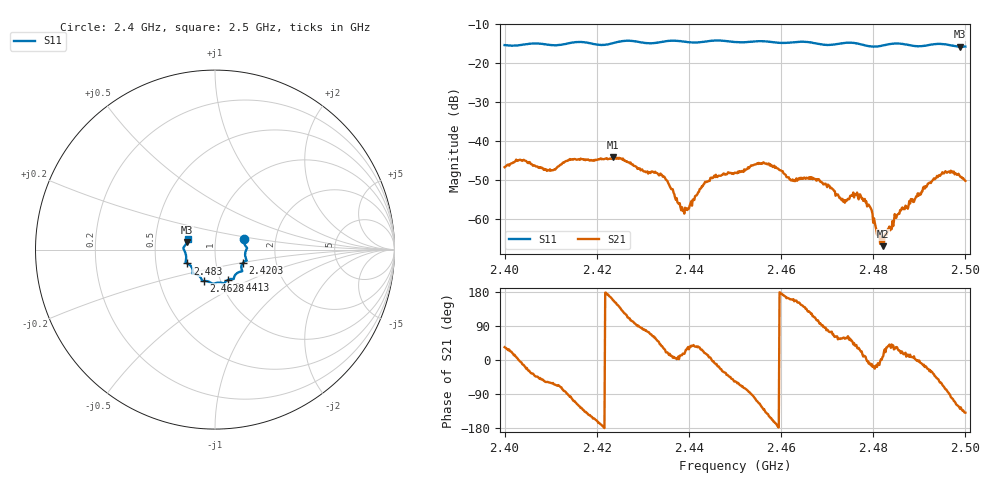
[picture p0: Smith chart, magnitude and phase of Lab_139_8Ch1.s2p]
# Hz S RI R 50
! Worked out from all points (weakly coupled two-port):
!   601 points, 2.4 GHz to 2.5 GHz, reference 50 ohm
!   highest |S21| = -44.23 dB at 2.4235 GHz (marker M1); lowest = -67.0 dB at 2.4822 GHz (marker M2)
!   lowest |S11| = -15.8 dB at 2.4988 GHz (marker M3), VSWR 1.39, Z = 36.4 + j3.2 ohm
!   |S11| at or under -10 dB: start of sweep to end of sweep
!   S12 and S22 are empty: the file has one direction only
!   S11 on the Smith chart (normalised r, x): 2.4 GHz: 1.37, +0.16; 2.4203 GHz: 1.35, -0.21; 2.4413 GHz: 1.09, -0.38; 2.4628 GHz: 0.83, -0.30; 2.483 GHz: 0.72, -0.11; 2.5 GHz: 0.73, +0.09
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2.4e9  0.1605 0.0569  0.00383 0.00257  0 0  0 0
2.403667e9  0.1699 0.0204  0.00565 -0.000664  0 0  0 0
2.4105e9  0.1691 -0.0152  0.00207 -0.00367  0 0  0 0
2.416667e9  0.1761 -0.0615  -0.00347 -0.00473  0 0  0 0
2.420333e9  0.1552 -0.074  -0.00567 -0.00141  0 0  0 0
2.4235e9  0.1472 -0.1038  -0.00569 0.00231  0 0  0 0
2.433333e9  0.108 -0.1486  0.00244 0.00283  0 0  0 0
2.438667e9  0.0962 -0.1636  0.00122 0.00037  0 0  0 0
2.441333e9  0.0744 -0.1679  0.0016 0.00113  0 0  0 0
2.445167e9  0.0521 -0.1868  0.00334 -0.000204  0 0  0 0
2.45e9  0.0293 -0.184  0.00219 -0.00326  0 0  0 0
2.456667e9  -0.0151 -0.1893  -0.00382 -0.0034  0 0  0 0
2.462833e9  -0.0631 -0.1747  -0.00286 0.00134  0 0  0 0
2.466667e9  -0.0742 -0.1675  -0.00182 0.0029  0 0  0 0
2.4735e9  -0.1211 -0.1343  0.000856 0.00143  0 0  0 0
2.477667e9  -0.1242 -0.1191  0.00179 0.00045  0 0  0 0
2.482167e9  -0.1483 -0.0801  0.00044 7.93e-05  0 0  0 0
2.483e9  -0.1548 -0.0769  0.000544 0.000361  0 0  0 0
2.483333e9  -0.157 -0.0758  0.0006 0.000462  0 0  0 0
2.493333e9  -0.1749 0.00245  0.00238 -0.00217  0 0  0 0
2.498833e9  -0.1562 0.0428  -0.00221 -0.00274  0 0  0 0
2.5e9  -0.1524 0.0585  -0.00232 -0.00202  0 0  0 0
